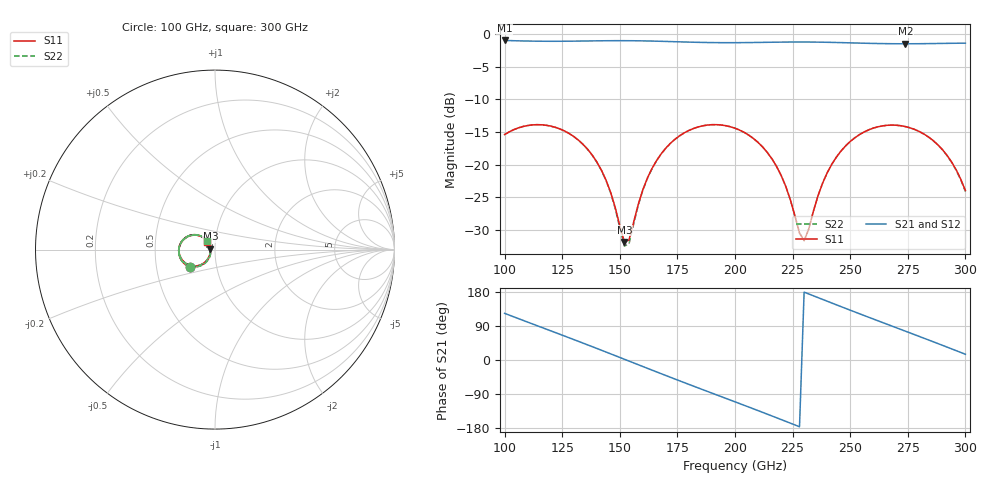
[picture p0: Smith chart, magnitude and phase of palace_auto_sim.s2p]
#  GHZ S DB R 50
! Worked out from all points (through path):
!   101 points, 100 GHz to 300 GHz, reference 50 ohm
!   highest |S21| = -0.99 dB at 100 GHz (marker M1); lowest = -1.5 dB at 274 GHz (marker M2)
!   group delay of S21, straight-line fit = 6.51 ps
!   lowest |S11| = -31.8 dB at 152 GHz (marker M3), VSWR 1.05, Z = 47.5 + j0.435 ohm
!   |S11| at or under -10 dB: start of sweep to end of sweep
!   |S22| runs from -32.5 to -13.9 dB; largest |S21 - S12| = 1e-13
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100  -15.39 -145.1  -0.99 123.1  -0.99 123.1  -15.39 -145.3
116  -13.89 -178.4  -1.10 86.2  -1.10 86.2  -13.89 -178.6
124  -14.53 165.2  -1.11 67.9  -1.11 67.9  -14.53 164.9
134  -16.87 145.8  -1.07 44.6  -1.07 44.6  -16.88 145.3
144  -22.34 132.4  -1.03 21.1  -1.03 21.1  -22.40 131.2
152  -31.83 169.7  -1.02 2.0  -1.02 2.0  -32.47 168.7
154  -31.52 -157.3  -1.02 -2.8  -1.02 -2.8  -32.09 -155.5
162  -22.03 -125.4  -1.06 -22.0  -1.06 -22.0  -22.08 -124.0
168  -18.32 -132.5  -1.12 -36.2  -1.12 -36.2  -18.33 -131.5
184  -14.22 -162.7  -1.27 -73.6  -1.27 -73.6  -14.22 -162.2
200  -14.42 165.0  -1.32 -110.4  -1.32 -110.4  -14.42 165.4
216  -19.09 136.3  -1.26 -147.6  -1.26 -147.6  -19.08 136.6
222  -23.29 131.8  -1.23 -161.8  -1.23 -161.8  -23.28 132.1
230  -31.63 -173.9  -1.23 179.1  -1.23 179.1  -31.59 -173.8
234  -27.17 -134.1  -1.24 169.5  -1.24 169.5  -27.16 -134.0
240  -21.25 -128.4  -1.27 155.2  -1.27 155.2  -21.25 -128.3
248  -17.12 -139.2  -1.33 136.2  -1.33 136.2  -17.12 -139.1
258  -14.67 -157.8  -1.43 112.8  -1.43 112.8  -14.67 -157.8
268  -13.94 -177.5  -1.48 89.8  -1.48 89.8  -13.94 -177.6
274  -14.17 170.7  -1.49 76.0  -1.49 76.0  -14.17 170.5
290  -17.68 141.6  -1.44 38.8  -1.44 38.8  -17.71 141.0
300  -23.95 135.1  -1.40 15.2  -1.40 15.2  -24.10 133.5
